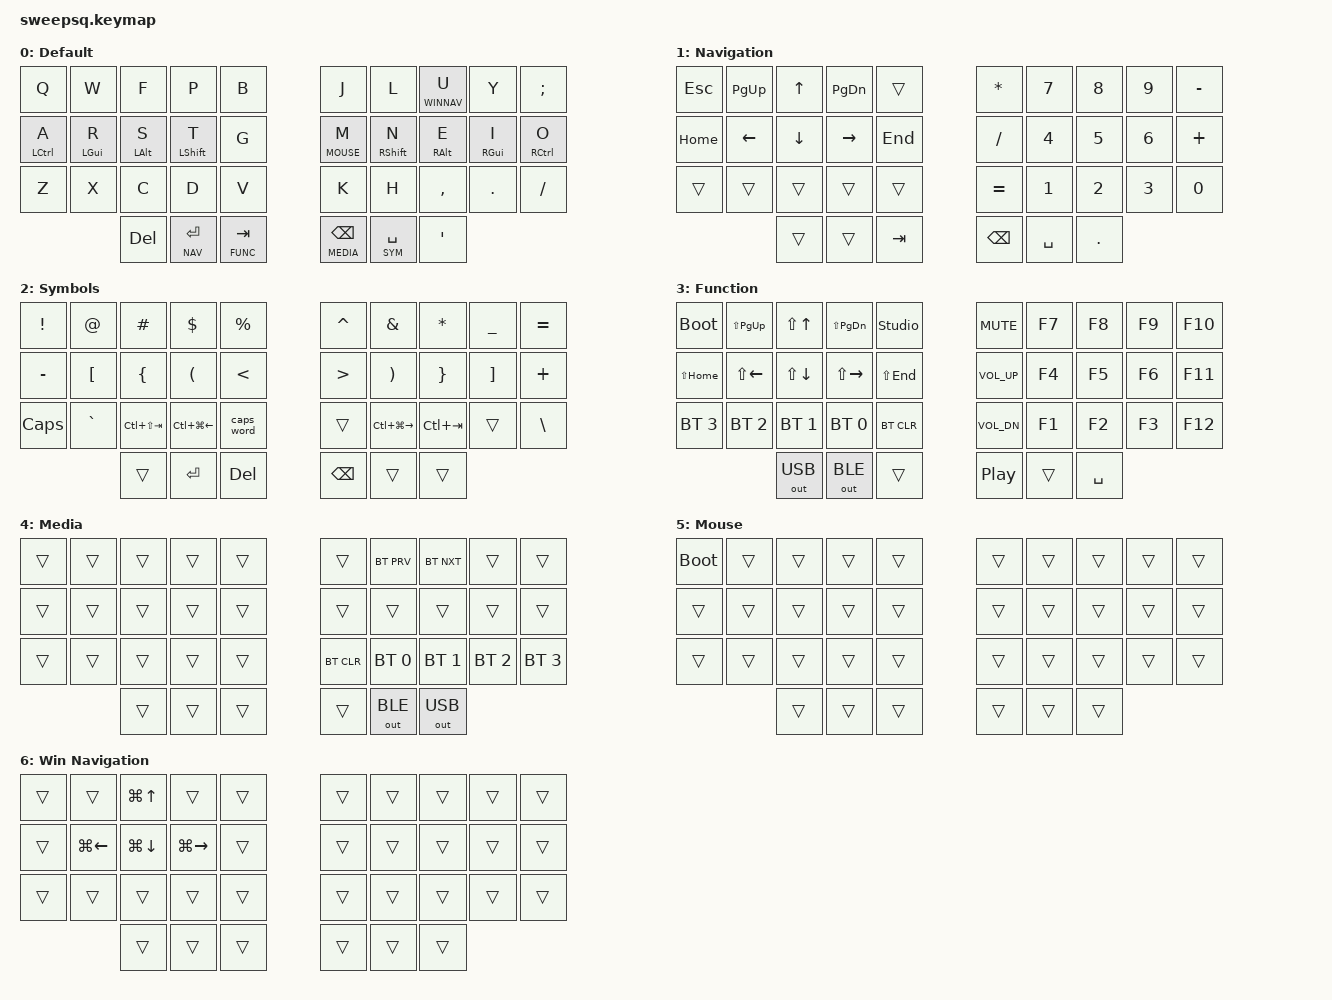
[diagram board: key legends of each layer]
#include <behaviors.dtsi>
#include <dt-bindings/zmk/keys.h>
#include <dt-bindings/zmk/bt.h>
#include <dt-bindings/zmk/outputs.h>

#define DEFAULT 0
#define NAV     1
#define SYM     2
#define FUNC    3
#define MEDIA   4
#define MOUSE   5
#define WINNAV  6

&caps_word {
    continue-list = <UNDERSCORE MINUS>;
};

/ {
    combos {
        compatible = "zmk,combos";
        combo_undo {
            timeout-ms = <50>;
            key-positions = <20 21>;
            bindings = <&kp LC(Z)>;
        };
        combo_q {
            timeout-ms = <50>;
            key-positions = <21 22>;
            bindings = <&kp Q>;
        };
        combo_semicolon {
            timeout-ms = <50>;
            key-positions = <27 28>;
            bindings = <&kp SEMI>;
        };
    };
};

/ {

    behaviors {
        hm: homerow_mods {
            compatible = "zmk,behavior-hold-tap";
            label = "HOMEROW_MODS";
            #binding-cells = <2>;
            tapping-term-ms = <200>;
            quick_tap_ms = <0>;
            flavor = "balanced";
            bindings = <&kp>, <&kp>;
        };
        hs: homerow_shift {
            compatible = "zmk,behavior-hold-tap";
            label = "HOMEROW_SHIFT";
            #binding-cells = <2>;
            tapping-term-ms = <175>;
            quick_tap_ms = <0>;
            flavor = "balanced";
            bindings = <&kp>, <&kp>;
        };
    };

    keymap {
        compatible = "zmk,keymap";

        default_layer {
            label = "Default";

            bindings = <
//    ┌──────────────┬────────────┬────────────┬────────────┬─────────────┐   ┌───────────────┬────────────┬─────────────┬────────────┬──────────────┐
//    │      Q       │     W      │     F      │     P      │      B      │   │       J       │     L      │ lt WINNAV U │     Y      │      ;       │
//    ├──────────────┼────────────┼────────────┼────────────┼─────────────┤   ├───────────────┼────────────┼─────────────┼────────────┼──────────────┤
//    │ &hm lctlTL A │ &hm lgui R │ &hm lalt S │ &hs lsft T │      G      │   │  lt MOUSE M   │ &hs rsft N │ &hm ralt E  │ &hm rgui I │ &hm rctlTL O │
//    ├──────────────┼────────────┼────────────┼────────────┼─────────────┤   ├───────────────┼────────────┼─────────────┼────────────┼──────────────┤
//    │      Z       │     X      │     C      │     D      │      V      │   │       K       │     H      │      ,      │     .      │      /       │
//    └──────────────┴────────────┼────────────┼────────────┼─────────────┤   ├───────────────┼────────────┼─────────────┼────────────┴──────────────┘
//                                │    del     │ lt NAV ent │ lt FUNC tab │   │ lt MEDIA bspc │ lt SYM spc │      '      │
//                                └────────────┴────────────┴─────────────┘   └───────────────┴────────────┴─────────────┘
  &kp Q        &kp W        &kp F        &kp P          &kp B              &kp J            &kp L           &lt WINNAV U   &kp Y        &kp SEMI
  &hm LCTL A   &hm LGUI R   &hm LALT S   &hs LSHIFT T   &kp G              &lt MOUSE M      &hs RSHIFT N    &hm RALT E     &hm RGUI I   &hm RCTL O
  &kp Z        &kp X        &kp C        &kp D          &kp V              &kp K            &kp H           &kp COMMA      &kp DOT      &kp FSLH
                            &kp DEL      &lt NAV RET    &lt FUNC TAB       &lt MEDIA BSPC   &lt SYM SPACE   &kp SQT
            >;
        };

        nav_layer {
            label = "Navigation";

            bindings = <
//    ┌──────┬──────┬──────┬──────┬─────┐   ┌──────┬─────┬───┬───┬───┐
//    │ esc  │ pgup │  up  │ pgdn │     │   │  *   │  7  │ 8 │ 9 │ - │
//    ├──────┼──────┼──────┼──────┼─────┤   ├──────┼─────┼───┼───┼───┤
//    │ home │ left │ down │ rght │ end │   │  /   │  4  │ 5 │ 6 │ + │
//    ├──────┼──────┼──────┼──────┼─────┤   ├──────┼─────┼───┼───┼───┤
//    │      │      │      │      │     │   │  =   │  1  │ 2 │ 3 │ 0 │
//    └──────┴──────┼──────┼──────┼─────┤   ├──────┼─────┼───┼───┴───┘
//                  │      │      │ tab │   │ bspc │ spc │ . │
//                  └──────┴──────┴─────┘   └──────┴─────┴───┘
  &kp ESC    &kp PG_UP   &kp UP     &kp PG_DN   &trans        &kp ASTRK   &kp N7      &kp N8    &kp N9   &kp MINUS
  &kp HOME   &kp LEFT    &kp DOWN   &kp RIGHT   &kp END       &kp FSLH    &kp N4      &kp N5    &kp N6   &kp PLUS
  &trans     &trans      &trans     &trans      &trans        &kp EQUAL   &kp N1      &kp N2    &kp N3   &kp N0
                         &trans     &trans      &kp TAB       &kp BSPC    &kp SPACE   &kp DOT
            >;
        };

        sym_layer {
            label = "Symbols";

            bindings = <
//    ┌──────┬───┬─────────────────┬──────────────────┬───────┐   ┌──────┬──────────────────┬───────────┬─────┬───┐
//    │  !   │ @ │        #        │        $         │   %   │   │  ^   │        &         │     *     │  _  │ = │
//    ├──────┼───┼─────────────────┼──────────────────┼───────┤   ├──────┼──────────────────┼───────────┼─────┼───┤
//    │  -   │ [ │        {        │        (         │   <   │   │  >   │        )         │     }     │  ]  │ + │
//    ├──────┼───┼─────────────────┼──────────────────┼───────┤   ├──────┼──────────────────┼───────────┼─────┼───┤
//    │ caps │ ` │ lctl(lsft(tab)) │ lctl(lgui(left)) │ capsw │   │      │ lctl(lgui(rght)) │ lctl(tab) │     │ \ │
//    └──────┴───┼─────────────────┼──────────────────┼───────┤   ├──────┼──────────────────┼───────────┼─────┴───┘
//               │                 │       ent        │  del  │   │ bspc │                  │           │
//               └─────────────────┴──────────────────┴───────┘   └──────┴──────────────────┴───────────┘
  &kp EXCL    &kp AT      &kp HASH          &kp DLLR           &kp PRCNT        &kp CARET   &kp AMPS            &kp ASTRK     &kp UNDER   &kp EQUAL
  &kp MINUS   &kp LBKT    &kp LBRC          &kp LPAR           &kp LT           &kp GT      &kp RPAR            &kp RBRC      &kp RBKT    &kp PLUS
  &kp CAPS    &kp GRAVE   &kp LC(LS(TAB))   &kp LC(LG(LEFT))   &caps_word       &trans      &kp LC(LG(RIGHT))   &kp LC(TAB)   &trans      &kp BSLH
                          &trans            &kp RET            &kp DEL          &kp BSPC    &trans              &trans
            >;
        };

        func_layer {
            label = "Function";

            bindings = <
//    ┌────────────┬────────────┬────────────┬────────────┬────────────────┐   ┌──────┬─────┬─────┬────┬─────┐
//    │    boot    │ lsft(pgup) │  lsft(up)  │ lsft(pgdn) │ &studio_unlock │   │ mute │ f7  │ f8  │ f9 │ f10 │
//    ├────────────┼────────────┼────────────┼────────────┼────────────────┤   ├──────┼─────┼─────┼────┼─────┤
//    │ lsft(home) │ lsft(left) │ lsft(down) │ lsft(rght) │   lsft(end)    │   │ volu │ f4  │ f5  │ f6 │ f11 │
//    ├────────────┼────────────┼────────────┼────────────┼────────────────┤   ├──────┼─────┼─────┼────┼─────┤
//    │  bt_sel 3  │  bt_sel 2  │  bt_sel 1  │  bt_sel 0  │     bt_clr     │   │ vold │ f1  │ f2  │ f3 │ f12 │
//    └────────────┴────────────┼────────────┼────────────┼────────────────┤   ├──────┼─────┼─────┼────┴─────┘
//                              │  out_ usb  │  out_ ble  │                │   │ play │     │ spc │
//                              └────────────┴────────────┴────────────────┘   └──────┴─────┴─────┘
  &bootloader    &kp LS(PG_UP)   &kp LS(UP)     &kp LS(PG_DN)   &studio_unlock       &kp C_MUTE         &kp F7   &kp F8      &kp F9   &kp F10
  &kp LS(HOME)   &kp LS(LEFT)    &kp LS(DOWN)   &kp LS(RIGHT)   &kp LS(END)          &kp K_VOL_UP       &kp F4   &kp F5      &kp F6   &kp F11
  &bt BT_SEL 3   &bt BT_SEL 2    &bt BT_SEL 1   &bt BT_SEL 0    &bt BT_CLR           &kp K_VOL_DN       &kp F1   &kp F2      &kp F3   &kp F12
                                 &out OUT_USB   &out OUT_BLE    &trans               &kp C_PLAY_PAUSE   &trans   &kp SPACE
            >;
        };

        media_layer {
            label = "Media";

            bindings = <
//    ┌─────┬─────┬─────┬─────┬─────┐   ┌────────┬──────────┬──────────┬──────────┬──────────┐
//    │     │     │     │     │     │   │        │  bt_prv  │  bt_nxt  │          │          │
//    ├─────┼─────┼─────┼─────┼─────┤   ├────────┼──────────┼──────────┼──────────┼──────────┤
//    │     │     │     │     │     │   │        │          │          │          │          │
//    ├─────┼─────┼─────┼─────┼─────┤   ├────────┼──────────┼──────────┼──────────┼──────────┤
//    │     │     │     │     │     │   │ bt_clr │ bt_sel 0 │ bt_sel 1 │ bt_sel 2 │ bt_sel 3 │
//    └─────┴─────┼─────┼─────┼─────┤   ├────────┼──────────┼──────────┼──────────┴──────────┘
//                │     │     │     │   │        │ out_ ble │ out_ usb │
//                └─────┴─────┴─────┘   └────────┴──────────┴──────────┘
  &trans   &trans   &trans   &trans   &trans       &trans       &bt BT_PRV     &bt BT_NXT     &trans         &trans
  &trans   &trans   &trans   &trans   &trans       &trans       &trans         &trans         &trans         &trans
  &trans   &trans   &trans   &trans   &trans       &bt BT_CLR   &bt BT_SEL 0   &bt BT_SEL 1   &bt BT_SEL 2   &bt BT_SEL 3
                    &trans   &trans   &trans       &trans       &out OUT_BLE   &out OUT_USB
            >;
        };

        mouse_layer {
            label = "Mouse";

            bindings = <
//    ┌──────┬─────┬─────┬─────┬─────┐   ┌─────┬─────┬─────┬─────┬─────┐
//    │ boot │     │     │     │     │   │     │     │     │     │     │
//    ├──────┼─────┼─────┼─────┼─────┤   ├─────┼─────┼─────┼─────┼─────┤
//    │      │     │     │     │     │   │     │     │     │     │     │
//    ├──────┼─────┼─────┼─────┼─────┤   ├─────┼─────┼─────┼─────┼─────┤
//    │      │     │     │     │     │   │     │     │     │     │     │
//    └──────┴─────┼─────┼─────┼─────┤   ├─────┼─────┼─────┼─────┴─────┘
//                 │     │     │     │   │     │     │     │
//                 └─────┴─────┴─────┘   └─────┴─────┴─────┘
  &bootloader   &trans   &trans   &trans   &trans       &trans   &trans   &trans   &trans   &trans
  &trans        &trans   &trans   &trans   &trans       &trans   &trans   &trans   &trans   &trans
  &trans        &trans   &trans   &trans   &trans       &trans   &trans   &trans   &trans   &trans
                         &trans   &trans   &trans       &trans   &trans   &trans
            >;
        };

        winnav_layer {
            label = "Win Navigation";

            bindings = <
//    ┌─────┬────────────┬────────────┬────────────┬─────┐   ┌─────┬─────┬─────┬─────┬─────┐
//    │     │            │  lgui(up)  │            │     │   │     │     │     │     │     │
//    ├─────┼────────────┼────────────┼────────────┼─────┤   ├─────┼─────┼─────┼─────┼─────┤
//    │     │ lgui(left) │ lgui(down) │ lgui(rght) │     │   │     │     │     │     │     │
//    ├─────┼────────────┼────────────┼────────────┼─────┤   ├─────┼─────┼─────┼─────┼─────┤
//    │     │            │            │            │     │   │     │     │     │     │     │
//    └─────┴────────────┼────────────┼────────────┼─────┤   ├─────┼─────┼─────┼─────┴─────┘
//                       │            │            │     │   │     │     │     │
//                       └────────────┴────────────┴─────┘   └─────┴─────┴─────┘
  &trans   &trans         &kp LG(UP)     &trans          &trans       &trans   &trans   &trans   &trans   &trans
  &trans   &kp LG(LEFT)   &kp LG(DOWN)   &kp LG(RIGHT)   &trans       &trans   &trans   &trans   &trans   &trans
  &trans   &trans         &trans         &trans          &trans       &trans   &trans   &trans   &trans   &trans
                          &trans         &trans          &trans       &trans   &trans   &trans
            >;
        };
    };
};
